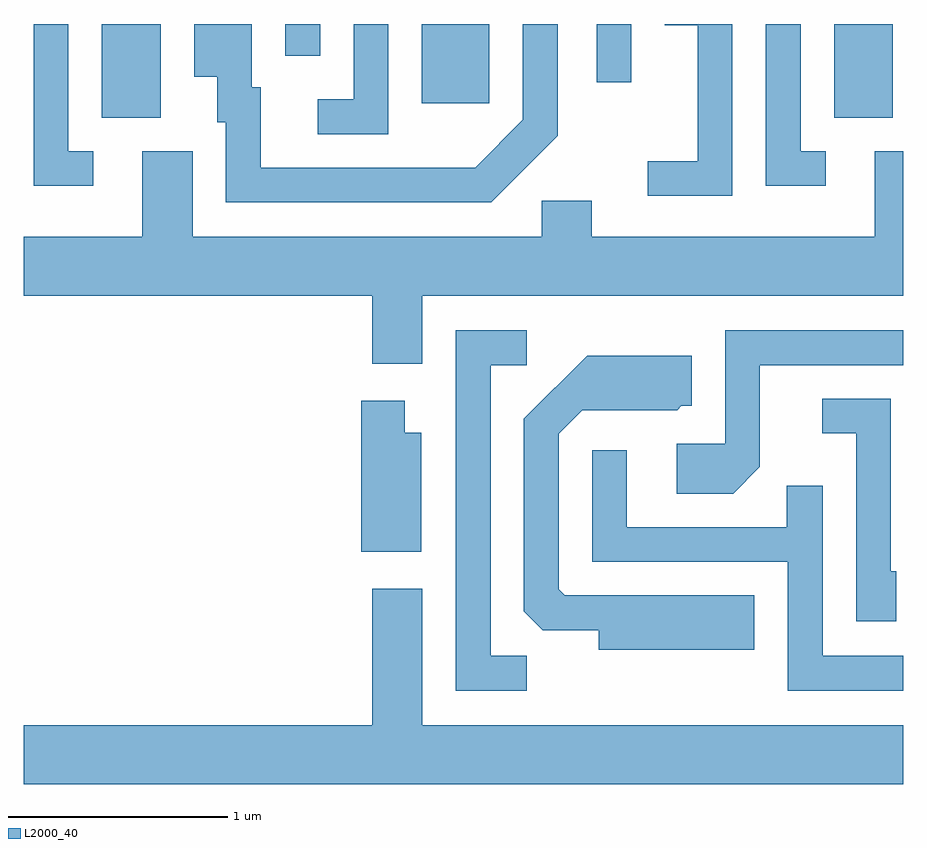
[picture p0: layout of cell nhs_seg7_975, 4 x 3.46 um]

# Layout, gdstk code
import gdstk
lib = gdstk.Library(unit=1e-6, precision=1e-09)
def R(c, l, rs):  # rectangles x0, y0, x1, y1
    for r in rs: c.add(gdstk.rectangle(r[:2], r[2:], *l))
def P(c, l, *ps):  # polygons
    for p in ps: c.add(gdstk.Polygon(p, *l))
L2000_40 = (2000, 40)

nhs_seg7_975 = lib.new_cell('nhs_seg7_975')
R(nhs_seg7_975, L2000_40, [(215.966,1681.826,216.234,1682.252), (219.296,1681.826,219.564,1682.252), (217.421,1681.891,217.729,1682.252), (218.216,1681.988,218.374,1682.252), (216.801,1682.108,216.959,1682.252)])
P(nhs_seg7_975, L2000_40, [(218.039,1681.744),(218.039,1682.252),(217.881,1682.252),(217.881,1681.817),(217.664,1681.599),(216.689,1681.599),(216.689,1681.964),(216.649,1681.964),(216.649,1682.252),(216.386,1682.252),(216.386,1682.011),(216.491,1682.011),(216.491,1681.806),(216.531,1681.806),(216.531,1681.441),(217.737,1681.441)],
  [(219.258,1681.674),(219.144,1681.674),(219.144,1682.252),(218.986,1682.252),(218.986,1681.516),(219.258,1681.516)],
  [(215.928,1681.674),(215.814,1681.674),(215.814,1682.252),(215.656,1682.252),(215.656,1681.516),(215.928,1681.516)],
  [(217.269,1682.252),(217.111,1682.252),(217.111,1681.909),(216.948,1681.909),(216.948,1681.751),(217.269,1681.751)],
  [(218.834,1682.252),(218.526,1682.252),(218.526,1682.246),(218.676,1682.246),(218.676,1681.629),(218.448,1681.629),(218.448,1681.471),(218.834,1681.471)],
  [(217.424,1681.016),(219.611,1681.016),(219.611,1681.674),(219.481,1681.674),(219.481,1681.284),(218.194,1681.284),(218.194,1681.449),(217.966,1681.449),(217.966,1681.284),(216.379,1681.284),(216.379,1681.674),(216.151,1681.674),(216.151,1681.284),(215.611,1681.284),(215.611,1681.016),(217.196,1681.016),(217.196,1680.706),(217.424,1680.706)],
  [(217.898,1679.379),(217.734,1679.379),(217.734,1680.701),(217.898,1680.701),(217.898,1680.859),(217.576,1680.859),(217.576,1679.221),(217.898,1679.221)],
  [(218.959,1680.239),(218.959,1680.701),(219.611,1680.701),(219.611,1680.859),(218.801,1680.859),(218.801,1680.344),(218.581,1680.344),(218.581,1680.116),(218.837,1680.116)],
  [(218.934,1679.654),(218.072,1679.654),(218.044,1679.682),(218.044,1680.389),(218.152,1680.496),(218.582,1680.496),(218.602,1680.516),(218.649,1680.516),(218.649,1680.744),(218.174,1680.744),(217.886,1680.457),(217.886,1679.582),(217.972,1679.496),(218.226,1679.496),(218.226,1679.406),(218.934,1679.406)],
  [(219.579,1679.764),(219.554,1679.764),(219.554,1680.549),(219.243,1680.549),(219.243,1680.391),(219.396,1680.391),(219.396,1679.536),(219.579,1679.536)],
  [(217.419,1680.394),(217.344,1680.394),(217.344,1680.539),(217.146,1680.539),(217.146,1679.851),(217.419,1679.851)],
  [(219.611,1679.379),(219.244,1679.379),(219.244,1680.153),(219.081,1680.153),(219.081,1679.964),(218.354,1679.964),(218.354,1680.313),(218.196,1680.313),(218.196,1679.806),(219.086,1679.806),(219.086,1679.221),(219.611,1679.221)],
  [(219.611,1679.064),(217.424,1679.064),(217.424,1679.684),(217.196,1679.684),(217.196,1679.064),(215.611,1679.064),(215.611,1678.796),(219.611,1678.796)])

lib.write_gds('nhs_seg7_975.gds')
